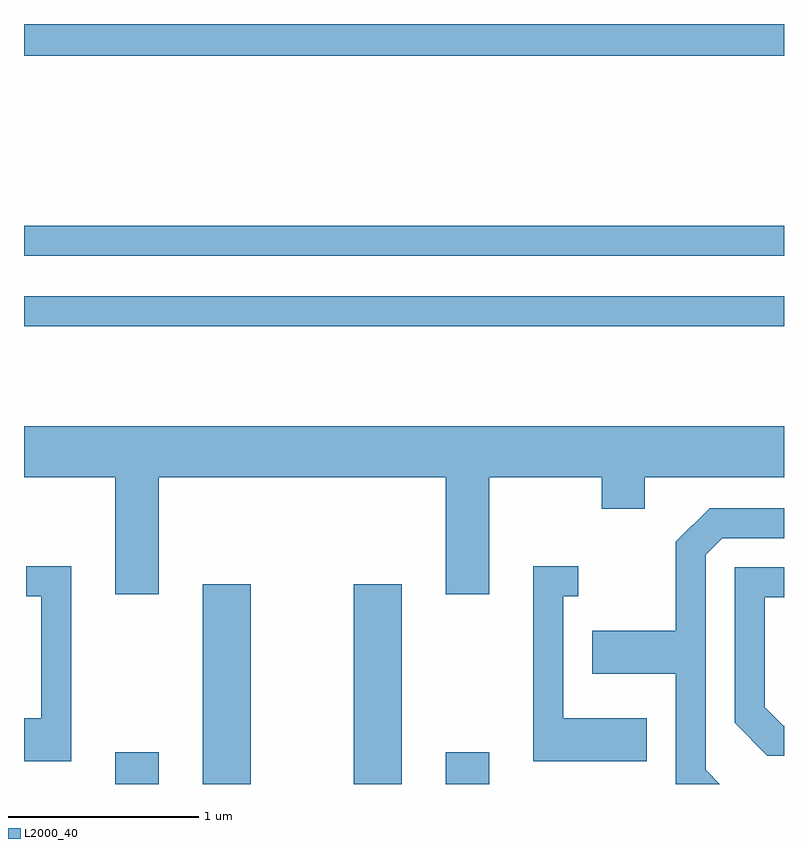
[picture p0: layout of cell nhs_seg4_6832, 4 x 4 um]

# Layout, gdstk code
import gdstk
lib = gdstk.Library(unit=1e-6, precision=1e-09)
def R(c, l, rs):  # rectangles x0, y0, x1, y1
    for r in rs: c.add(gdstk.rectangle(r[:2], r[2:], *l))
def P(c, l, *ps):  # polygons
    for p in ps: c.add(gdstk.Polygon(p, *l))
L2000_40 = (2000, 40)

nhs_seg4_6832 = lib.new_cell('nhs_seg4_6832')
R(nhs_seg4_6832, L2000_40, [(386.091,1321.982,386.319,1322.149), (386.551,1321.982,386.804,1323.034), (387.346,1321.982,387.599,1323.034), (387.831,1321.982,388.059,1322.149), (385.611,1324.391,389.611,1324.549), (385.611,1324.761,389.611,1324.919), (385.611,1325.816,389.611,1325.982)])
P(nhs_seg4_6832, L2000_40, [(386.319,1323.596),(387.831,1323.596),(387.831,1322.981),(388.059,1322.981),(388.059,1323.596),(388.651,1323.596),(388.651,1323.431),(388.879,1323.431),(388.879,1323.596),(389.611,1323.596),(389.611,1323.864),(385.611,1323.864),(385.611,1323.596),(386.091,1323.596),(386.091,1322.981),(386.319,1322.981)],
  [(389.199,1322.057),(389.199,1323.189),(389.287,1323.276),(389.611,1323.276),(389.611,1323.434),(389.219,1323.434),(389.041,1323.257),(389.041,1322.789),(388.601,1322.789),(388.601,1322.561),(389.041,1322.561),(389.041,1321.982),(389.274,1321.982)],
  [(385.859,1323.129),(385.623,1323.129),(385.623,1322.971),(385.701,1322.971),(385.701,1322.329),(385.611,1322.329),(385.611,1322.101),(385.859,1322.101)],
  [(388.889,1322.329),(388.449,1322.329),(388.449,1322.971),(388.528,1322.971),(388.528,1323.129),(388.291,1323.129),(388.291,1322.101),(388.889,1322.101)],
  [(389.611,1322.289),(389.607,1322.289),(389.509,1322.387),(389.509,1322.966),(389.611,1322.966),(389.611,1323.124),(389.351,1323.124),(389.351,1322.304),(389.524,1322.131),(389.611,1322.131)])

lib.write_gds('nhs_seg4_6832.gds')
